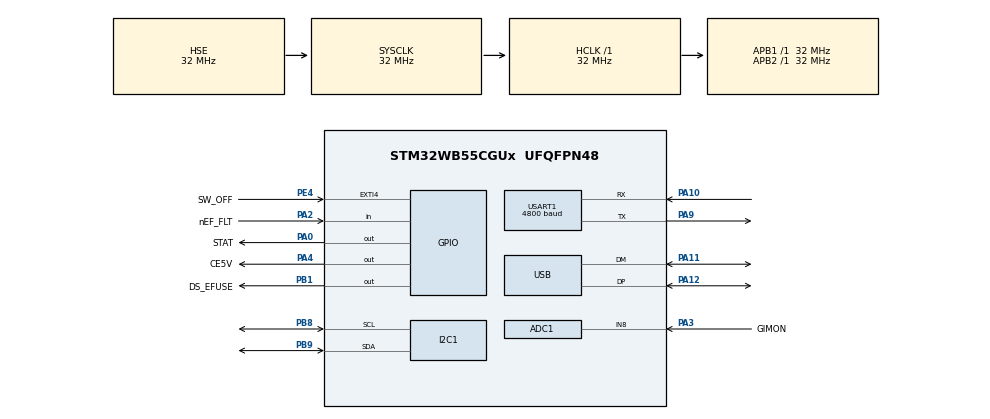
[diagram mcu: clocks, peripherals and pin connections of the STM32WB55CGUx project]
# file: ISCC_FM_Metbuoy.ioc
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ADC1.Channel-0\#ChannelRegularConversion=ADC_CHANNEL_8
ADC1.NbrOfConversionFlag=1
ADC1.OffsetNumber-0\#ChannelRegularConversion=ADC_OFFSET_NONE
ADC1.Rank-0\#ChannelRegularConversion=1
ADC1.SamplingTime-0\#ChannelRegularConversion=ADC_SAMPLETIME_2CYCLES_5
ADC1.master=1
I2C1.Timing=0x00B07CB4
Mcu.Family=STM32WB
Mcu.Name=STM32WB55CGUx
Mcu.Package=UFQFPN48
NVIC.EXTI4_IRQn=true\:0\:0\:true\:false\:true\:true\:true\:true
NVIC.FPU_IRQn=true\:0\:0\:false\:false\:true\:true\:false\:true
NVIC.HSEM_IRQn=true\:0\:0\:false\:false\:true\:false\:true\:true
NVIC.IPCC_C1_RX_IRQn=true\:0\:0\:false\:false\:true\:true\:true\:true
NVIC.IPCC_C1_TX_IRQn=true\:0\:0\:false\:false\:true\:true\:true\:true
NVIC.PriorityGroup=NVIC_PRIORITYGROUP_4
NVIC.RCC_IRQn=true\:0\:0\:false\:false\:true\:true\:false\:true
NVIC.RTC_WKUP_IRQn=true\:0\:0\:false\:false\:true\:true\:true\:true
NVIC.TIM1_UP_TIM16_IRQn=true\:0\:0\:false\:false\:true\:true\:true\:true
NVIC.TIM2_IRQn=true\:0\:0\:false\:false\:true\:true\:true\:true
NVIC.USART1_IRQn=true\:0\:0\:false\:false\:true\:true\:true\:true
NVIC.USB_LP_IRQn=true\:0\:0\:false\:false\:true\:false\:true\:true
OSC_IN.Mode=HSE-External-Oscillator
OSC_IN.Signal=RCC_OSC_IN
OSC_OUT.Mode=HSE-External-Oscillator
OSC_OUT.Signal=RCC_OSC_OUT
PA0.GPIO_Label=STAT
PA0.Signal=GPIO_Output
PA10.Mode=Asynchronous
PA10.Signal=USART1_RX
PA11.Mode=Device
PA11.Signal=USB_DM
PA12.Mode=Device
PA12.Signal=USB_DP
PA13.Mode=Serial_Wire
PA13.Signal=SYS_JTMS-SWDIO
PA14.Mode=Serial_Wire
PA14.Signal=SYS_JTCK-SWCLK
PA2.GPIO_Label=nEF_FLT
PA2.GPIO_PuPd=GPIO_PULLUP
PA2.Signal=GPIO_Input
PA3.GPIO_Label=GIMON
PA3.Signal=ADCx_IN8
PA4.GPIO_Label=CE5V
PA4.Signal=GPIO_Output
PA9.Mode=Asynchronous
PA9.Signal=USART1_TX
PB1.GPIO_Label=DS_EFUSE
PB1.GPIO_ModeDefaultOutputPP=GPIO_MODE_OUTPUT_PP
PB1.GPIO_PuPd=GPIO_NOPULL
PB1.PinState=GPIO_PIN_SET
PB1.Signal=GPIO_Output
PB8.Mode=I2C
PB8.Signal=I2C1_SCL
PB9.Mode=I2C
PB9.Signal=I2C1_SDA
PC14-OSC32_IN.Mode=LSE-External-Oscillator
PC14-OSC32_IN.Signal=RCC_OSC32_IN
PC15-OSC32_OUT.Mode=LSE-External-Oscillator
PC15-OSC32_OUT.Signal=RCC_OSC32_OUT
PE4.GPIO_Label=SW_OFF
PE4.GPIO_ModeDefaultEXTI=GPIO_MODE_IT_FALLING
PE4.Signal=GPXTI4
ProjectManager.HeapSize=0x200
ProjectManager.StackSize=0x400
ProjectManager.TargetToolchain=STM32CubeIDE
RCC.ADCFreq_Value=12000000
RCC.AHBFreq_Value=32000000
RCC.APB1Freq_Value=32000000
RCC.APB1TimFreq_Value=32000000
RCC.APB2Freq_Value=32000000
RCC.APB2TimFreq_Value=32000000
RCC.APB3Freq_Value=16000000
RCC.CK48CLockSelection=RCC_USBCLKSOURCE_HSI48
RCC.CortexFreq_Value=32000000
RCC.HCLKFreq_Value=32000000
RCC.HSE_VALUE=32000000
RCC.HSI48_VALUE=48000000
RCC.HSI_VALUE=16000000
RCC.LSISource1=RCC_LSCOSOURCE_LSI2
RCC.PLLM=RCC_PLLM_DIV2
RCC.PLLSAI1N=6
RCC.PLLSAI1R=RCC_PLLR_DIV8
RCC.PLLSourceVirtual=RCC_PLLSOURCE_HSE
RCC.RTCClockSelection=RCC_RTCCLKSOURCE_LSE
RCC.SMPSCLockSelection=RCC_SMPSCLKSOURCE_HSE
RCC.SYSCLKFreq_VALUE=32000000
RCC.SYSCLKSource=RCC_SYSCLKSOURCE_HSE
RCC.USBFreq_Value=48000000
RCC.VCOOutputFreq_Value=128000000
RF1.Mode=RF1_Activate
RF1.Signal=RF_RF1
SH.ADCx_IN8.0=ADC1_IN8,IN8-Single-Ended
STM32_WPAN.AD_TYPE_COMPLETE_LOCAL_NAME=IS_FM2
STM32_WPAN.AD_TYPE_COMPLETE_LOCAL_NAME_LENGTH=7
STM32_WPAN.AD_TYPE_SHORTENED_LOCAL_NAME=01ST
STM32_WPAN.CFG_LSCLK_LSE=0
STM32_WPAN.CUSTOM_P2P_SERVER=Disabled
STM32_WPAN.CUSTOM_TEMPLATE=Enabled
STM32_WPAN.INCLUDE_AD_TYPE_COMPLETE_LOCAL_NAME=1
STM32_WPAN.INCLUDE_AD_TYPE_MANUFACTURER_SPECIFIC_DATA=0
STM32_WPAN.INCLUDE_AD_TYPE_SHORTENED_LOCAL_NAME=1
STM32_WPAN.INCLUDE_AD_TYPE_TX_POWER_LEVEL=0
STM32_WPAN.NUMBER_OF_SERVICES=1
STM32_WPAN.SERVICE1_CHAR1_GATT_NOTIFY_READ_REQ_AND_WAIT_FOR_APPL_RESP=\ 
STM32_WPAN.SERVICE1_CHAR1_GATT_NOTIFY_WRITE_REQ_AND_WAIT_FOR_APPL_RESP=\ 
STM32_WPAN.SERVICE1_CHAR1_LENGTH_CHARACTERISTIC=CHAR_VALUE_LEN_VARIABLE
STM32_WPAN.SERVICE1_CHAR1_LONG_NAME=Transmit
STM32_WPAN.SERVICE1_CHAR1_PROP_WRITE_WITHOUT_RESP=CHAR_PROP_WRITE_WITHOUT_RESP
STM32_WPAN.SERVICE1_CHAR1_SHORT_NAME=TX
STM32_WPAN.SERVICE1_CHAR1_UUID=00 01
STM32_WPAN.SERVICE1_CHAR1_VALUE_LENGTH=128
STM32_WPAN.SERVICE1_CHAR2_GATT_NOTIFY_READ_REQ_AND_WAIT_FOR_APPL_RESP=\ 
STM32_WPAN.SERVICE1_CHAR2_GATT_NOTIFY_WRITE_REQ_AND_WAIT_FOR_APPL_RESP=\ 
STM32_WPAN.SERVICE1_CHAR2_LENGTH_CHARACTERISTIC=CHAR_VALUE_LEN_VARIABLE
STM32_WPAN.SERVICE1_CHAR2_LONG_NAME=Receive
STM32_WPAN.SERVICE1_CHAR2_PROP_NOTIFY=CHAR_PROP_NOTIFY
STM32_WPAN.SERVICE1_CHAR2_PROP_READ=CHAR_PROP_READ
STM32_WPAN.SERVICE1_CHAR2_SHORT_NAME=RX
STM32_WPAN.SERVICE1_CHAR2_UUID=00 02
STM32_WPAN.SERVICE1_CHAR2_VALUE_LENGTH=128
STM32_WPAN.SERVICE1_LONG_NAME=icmService
STM32_WPAN.SERVICE1_NUMBER_OF_CHARACTERISTICS=2
STM32_WPAN.SERVICE1_SHORT_NAME=icmService
STM32_WPAN.SERVICE1_UUID=00 00
TIM1.Period=50-1
TIM1.Prescaler=32000-1
TIM2.Period=100-1
TIM2.Prescaler=32000-1
USART1.BaudRate=4800
USART1.VirtualMode-Asynchronous=VM_ASYNC
USB_DEVICE.CLASS_NAME_FS=CDC
USB_DEVICE.VirtualMode=Cdc
USB_DEVICE.VirtualModeFS=Cdc_FS
VP_HSEM_VS_HSEM.Mode=HSEM_Activate
VP_IPCC_VS_IPCC.Mode=IPCC_Activate
VP_MEMORYMAP_VS_MEMORYMAP.Mode=CurAppReg
VP_RTC_VS_RTC_Activate.Mode=RTC_Enabled
VP_RTC_VS_RTC_Calendar.Mode=RTC_Calendar
VP_RTC_VS_RTC_WakeUp_intern.Mode=WakeUp
VP_SEQUENCER_VS_SEQUENCER.Mode=SEQUENCER_Enabled
VP_STM32_WPAN_VS_BLE_HOST.Mode=STM32_WPAN_Enabled
VP_TIM1_VS_ClockSourceINT.Mode=Internal
VP_TIM2_VS_ClockSourceINT.Mode=Internal
VP_TINY_LPM_VS_TINY_LPM.Mode=TINY_LPM_Enabled
VP_USB_DEVICE_VS_USB_DEVICE_CDC_FS.Mode=CDC_FS
board=custom

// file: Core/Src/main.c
/* USER CODE BEGIN Header */
/**
  ******************************************************************************
  * @file           : main.c
  * @brief          : Main program body
  ******************************************************************************
  * @attention
  *
  * Copyright (c) 2024 STMicroelectronics.
  * All rights reserved.
  *
  * This software is licensed under terms that can be found in the LICENSE file
  * in the root directory of this software component.
  * If no LICENSE file comes with this software, it is provided AS-IS.
  *
  ******************************************************************************
  */

// Author: 	Ian C Mosquera
// Date: 		06 Feb, 2025
// Company: DOST-ASTI

/* USER CODE END Header */
#include "main.h"
#include "usb_device.h"

/* USER CODE BEGIN Includes */

// Initital Push
#include "interruptTimer.h"
#include "math.h"
#include "strings.h"
#include "stdio.h"
#include "stm32_seq.h"
#include "stm_queue.h"
#include "stdint.h"
#include "stdbool.h"
#include "usbd_cdc_if.h"
#include "LTC4162.h"
#include "ASTI_RTC.h"

/* USER CODE END Includes */

ADC_HandleTypeDef hadc1;

I2C_HandleTypeDef hi2c1;

IPCC_HandleTypeDef hipcc;

RTC_HandleTypeDef hrtc;

TIM_HandleTypeDef htim1;
TIM_HandleTypeDef htim2;

UART_HandleTypeDef huart1;

/* USER CODE BEGIN PV */
LTC4162 ltc;
dateTime_t DT;

uint8_t MidnightEfuseReset_Flag;

uint8_t	STS40_RXBuffer[3];    // RX buffer for I2C
uint8_t	sts40_TXCODE; 				// measure T with highest precision
volatile float Temp_C;

/* END - UART variables */

/* USER CODE END PV */

void SystemClock_Config(void);
void PeriphCommonClock_Config(void);
static void MX_GPIO_Init(void);
static void MX_RTC_Init(void);
static void MX_IPCC_Init(void);
static void MX_TIM2_Init(void);
static void MX_USART1_UART_Init(void);
static void MX_TIM1_Init(void);
static void MX_I2C1_Init(void);
static void MX_ADC1_Init(void);
static void MX_RF_Init(void);
/* USER CODE BEGIN PFP */
static void ISCC_GPIO_Init(void);
/* USER CODE END PFP */

int main(void)
{

  /* MCU Configuration--------------------------------------------------------*/

  /* Reset of all peripherals, Initializes the Flash interface and the Systick. */
  HAL_Init();
  /* Config code for STM32_WPAN (HSE Tuning must be done before system clock configuration) */
  MX_APPE_Config();

  /* Configure the system clock */
  SystemClock_Config();

  /* Configure the peripherals common clocks */
  PeriphCommonClock_Config();

  /* IPCC initialisation */
  MX_IPCC_Init();

  /* Initialize all configured peripherals */
  MX_GPIO_Init();
  MX_RTC_Init();
  MX_USB_Device_Init();
  MX_TIM2_Init();
  MX_USART1_UART_Init();
  MX_TIM1_Init();
  MX_I2C1_Init();
  MX_ADC1_Init();
  MX_RF_Init();
  /* USER CODE BEGIN 2 */
  sts40_TXCODE =  0xFD;

  HAL_Delay(3000);
  xprintf(PC, "ASTI iSCC FW: 1.0.1\r\n");

  xprintf(PC, "Initiate RTC\r\n");
  xprintf(PC, "Initiate LTC Device\r\n");

  RTC_Init();
  LTC_Init(&ltc);
  ISCC_GPIO_Init();

  /* USER CODE END 2 */

  /* Init code for STM32_WPAN */
  MX_APPE_Init();

  /* Infinite loop */
  /* USER CODE BEGIN WHILE */

//	HAL_TIM_Base_Start_IT(&htim2);

  while (1)
  {
    /* USER CODE END WHILE */
    MX_APPE_Process();

  }
}

void SystemClock_Config(void)
{
  RCC_OscInitTypeDef RCC_OscInitStruct = {0};
  RCC_ClkInitTypeDef RCC_ClkInitStruct = {0};

  /** Macro to configure the PLL multiplication factor
  */
  __HAL_RCC_PLL_PLLM_CONFIG(RCC_PLLM_DIV2);

  /** Macro to configure the PLL clock source
  */
  __HAL_RCC_PLL_PLLSOURCE_CONFIG(RCC_PLLSOURCE_HSE);

  /** Configure LSE Drive Capability
  */
  HAL_PWR_EnableBkUpAccess();
  __HAL_RCC_LSEDRIVE_CONFIG(RCC_LSEDRIVE_MEDIUMHIGH);

  /** Configure the main internal regulator output voltage
  */
  __HAL_PWR_VOLTAGESCALING_CONFIG(PWR_REGULATOR_VOLTAGE_SCALE1);

  /** Initializes the RCC Oscillators according to the specified parameters
  * in the RCC_OscInitTypeDef structure.
  */
  RCC_OscInitStruct.OscillatorType = RCC_OSCILLATORTYPE_HSI48|RCC_OSCILLATORTYPE_HSI
                              |RCC_OSCILLATORTYPE_HSE|RCC_OSCILLATORTYPE_LSE;
  RCC_OscInitStruct.HSEState = RCC_HSE_ON;
  RCC_OscInitStruct.LSEState = RCC_LSE_ON;
  RCC_OscInitStruct.HSIState = RCC_HSI_ON;
  RCC_OscInitStruct.HSI48State = RCC_HSI48_ON;
  RCC_OscInitStruct.HSICalibrationValue = RCC_HSICALIBRATION_DEFAULT;
  RCC_OscInitStruct.PLL.PLLState = RCC_PLL_NONE;
  if (HAL_RCC_OscConfig(&RCC_OscInitStruct) != HAL_OK)
  {
    Error_Handler();
  }

  /** Configure the SYSCLKSource, HCLK, PCLK1 and PCLK2 clocks dividers
  */
  RCC_ClkInitStruct.ClockType = RCC_CLOCKTYPE_HCLK4|RCC_CLOCKTYPE_HCLK2
                              |RCC_CLOCKTYPE_HCLK|RCC_CLOCKTYPE_SYSCLK
                              |RCC_CLOCKTYPE_PCLK1|RCC_CLOCKTYPE_PCLK2;
  RCC_ClkInitStruct.SYSCLKSource = RCC_SYSCLKSOURCE_HSE;
  RCC_ClkInitStruct.AHBCLKDivider = RCC_SYSCLK_DIV1;
  RCC_ClkInitStruct.APB1CLKDivider = RCC_HCLK_DIV1;
  RCC_ClkInitStruct.APB2CLKDivider = RCC_HCLK_DIV1;
  RCC_ClkInitStruct.AHBCLK2Divider = RCC_SYSCLK_DIV1;
  RCC_ClkInitStruct.AHBCLK4Divider = RCC_SYSCLK_DIV1;

  if (HAL_RCC_ClockConfig(&RCC_ClkInitStruct, FLASH_LATENCY_1) != HAL_OK)
  {
    Error_Handler();
  }
}

void PeriphCommonClock_Config(void)
{
  RCC_PeriphCLKInitTypeDef PeriphClkInitStruct = {0};

  /** Initializes the peripherals clock
  */
  PeriphClkInitStruct.PeriphClockSelection = RCC_PERIPHCLK_SMPS|RCC_PERIPHCLK_RFWAKEUP;
  PeriphClkInitStruct.RFWakeUpClockSelection = RCC_RFWKPCLKSOURCE_HSE_DIV1024;
  PeriphClkInitStruct.SmpsClockSelection = RCC_SMPSCLKSOURCE_HSE;
  PeriphClkInitStruct.SmpsDivSelection = RCC_SMPSCLKDIV_RANGE0;

  if (HAL_RCCEx_PeriphCLKConfig(&PeriphClkInitStruct) != HAL_OK)
  {
    Error_Handler();
  }
  /* USER CODE BEGIN Smps */
  LL_HSEM_1StepLock( HSEM, 5);
  /* USER CODE END Smps */
}

static void MX_ADC1_Init(void)
{

  ADC_ChannelConfTypeDef sConfig = {0};

  /** Common config
  */
  hadc1.Instance = ADC1;
  hadc1.Init.ClockPrescaler = ADC_CLOCK_ASYNC_DIV1;
  hadc1.Init.Resolution = ADC_RESOLUTION_12B;
  hadc1.Init.DataAlign = ADC_DATAALIGN_RIGHT;
  hadc1.Init.ScanConvMode = ADC_SCAN_DISABLE;
  hadc1.Init.EOCSelection = ADC_EOC_SINGLE_CONV;
  hadc1.Init.LowPowerAutoWait = DISABLE;
  hadc1.Init.ContinuousConvMode = DISABLE;
  hadc1.Init.NbrOfConversion = 1;
  hadc1.Init.DiscontinuousConvMode = DISABLE;
  hadc1.Init.ExternalTrigConv = ADC_SOFTWARE_START;
  hadc1.Init.ExternalTrigConvEdge = ADC_EXTERNALTRIGCONVEDGE_NONE;
  hadc1.Init.DMAContinuousRequests = DISABLE;
  hadc1.Init.Overrun = ADC_OVR_DATA_PRESERVED;
  hadc1.Init.OversamplingMode = DISABLE;
  if (HAL_ADC_Init(&hadc1) != HAL_OK)
  {
    Error_Handler();
  }

  /** Configure Regular Channel
  */
  sConfig.Channel = ADC_CHANNEL_8;
  sConfig.Rank = ADC_REGULAR_RANK_1;
  sConfig.SamplingTime = ADC_SAMPLETIME_2CYCLES_5;
  sConfig.SingleDiff = ADC_SINGLE_ENDED;
  sConfig.OffsetNumber = ADC_OFFSET_NONE;
  sConfig.Offset = 0;
  if (HAL_ADC_ConfigChannel(&hadc1, &sConfig) != HAL_OK)
  {
    Error_Handler();
  }

}

static void MX_I2C1_Init(void)
{

  hi2c1.Instance = I2C1;
  hi2c1.Init.Timing = 0x00B07CB4;
  hi2c1.Init.OwnAddress1 = 0;
  hi2c1.Init.AddressingMode = I2C_ADDRESSINGMODE_7BIT;
  hi2c1.Init.DualAddressMode = I2C_DUALADDRESS_DISABLE;
  hi2c1.Init.OwnAddress2 = 0;
  hi2c1.Init.OwnAddress2Masks = I2C_OA2_NOMASK;
  hi2c1.Init.GeneralCallMode = I2C_GENERALCALL_DISABLE;
  hi2c1.Init.NoStretchMode = I2C_NOSTRETCH_DISABLE;
  if (HAL_I2C_Init(&hi2c1) != HAL_OK)
  {
    Error_Handler();
  }

  /** Configure Analogue filter
  */
  if (HAL_I2CEx_ConfigAnalogFilter(&hi2c1, I2C_ANALOGFILTER_ENABLE) != HAL_OK)
  {
    Error_Handler();
  }

  /** Configure Digital filter
  */
  if (HAL_I2CEx_ConfigDigitalFilter(&hi2c1, 0) != HAL_OK)
  {
    Error_Handler();
  }

}

static void MX_IPCC_Init(void)
{

  hipcc.Instance = IPCC;
  if (HAL_IPCC_Init(&hipcc) != HAL_OK)
  {
    Error_Handler();
  }

}

static void MX_RF_Init(void)
{

}

static void MX_RTC_Init(void)
{

  RTC_TimeTypeDef sTime = {0};
  RTC_DateTypeDef sDate = {0};

  /** Initialize RTC Only
  */
  hrtc.Instance = RTC;
  hrtc.Init.HourFormat = RTC_HOURFORMAT_24;
  hrtc.Init.AsynchPrediv = CFG_RTC_ASYNCH_PRESCALER;
  hrtc.Init.SynchPrediv = CFG_RTC_SYNCH_PRESCALER;
  hrtc.Init.OutPut = RTC_OUTPUT_DISABLE;
  hrtc.Init.OutPutPolarity = RTC_OUTPUT_POLARITY_HIGH;
  hrtc.Init.OutPutType = RTC_OUTPUT_TYPE_OPENDRAIN;
  hrtc.Init.OutPutRemap = RTC_OUTPUT_REMAP_NONE;
  if (HAL_RTC_Init(&hrtc) != HAL_OK)
  {
    Error_Handler();
  }

  /** Initialize RTC and set the Time and Date
  */
  sTime.Hours = 0x0;
  sTime.Minutes = 0x0;
  sTime.Seconds = 0x0;
  sTime.SubSeconds = 0x0;
  sTime.DayLightSaving = RTC_DAYLIGHTSAVING_NONE;
  sTime.StoreOperation = RTC_STOREOPERATION_RESET;
  if (HAL_RTC_SetTime(&hrtc, &sTime, RTC_FORMAT_BCD) != HAL_OK)
  {
    Error_Handler();
  }
  sDate.WeekDay = RTC_WEEKDAY_MONDAY;
  sDate.Month = RTC_MONTH_JANUARY;
  sDate.Date = 0x1;
  sDate.Year = 0x0;

  if (HAL_RTC_SetDate(&hrtc, &sDate, RTC_FORMAT_BCD) != HAL_OK)
  {
    Error_Handler();
  }

  /** Enable the WakeUp
  */
  if (HAL_RTCEx_SetWakeUpTimer_IT(&hrtc, 0, RTC_WAKEUPCLOCK_RTCCLK_DIV16) != HAL_OK)
  {
    Error_Handler();
  }

}

static void MX_TIM1_Init(void)
{

  TIM_ClockConfigTypeDef sClockSourceConfig = {0};
  TIM_MasterConfigTypeDef sMasterConfig = {0};

  htim1.Instance = TIM1;
  htim1.Init.Prescaler = 32000-1;
  htim1.Init.CounterMode = TIM_COUNTERMODE_UP;
  htim1.Init.Period = 50-1;
  htim1.Init.ClockDivision = TIM_CLOCKDIVISION_DIV1;
  htim1.Init.RepetitionCounter = 0;
  htim1.Init.AutoReloadPreload = TIM_AUTORELOAD_PRELOAD_DISABLE;
  if (HAL_TIM_Base_Init(&htim1) != HAL_OK)
  {
    Error_Handler();
  }
  sClockSourceConfig.ClockSource = TIM_CLOCKSOURCE_INTERNAL;
  if (HAL_TIM_ConfigClockSource(&htim1, &sClockSourceConfig) != HAL_OK)
  {
    Error_Handler();
  }
  sMasterConfig.MasterOutputTrigger = TIM_TRGO_RESET;
  sMasterConfig.MasterOutputTrigger2 = TIM_TRGO2_RESET;
  sMasterConfig.MasterSlaveMode = TIM_MASTERSLAVEMODE_DISABLE;
  if (HAL_TIMEx_MasterConfigSynchronization(&htim1, &sMasterConfig) != HAL_OK)
  {
    Error_Handler();
  }

}

static void MX_TIM2_Init(void)
{

  TIM_ClockConfigTypeDef sClockSourceConfig = {0};
  TIM_MasterConfigTypeDef sMasterConfig = {0};

  htim2.Instance = TIM2;
  htim2.Init.Prescaler = 32000-1;
  htim2.Init.CounterMode = TIM_COUNTERMODE_UP;
  htim2.Init.Period = 100-1;
  htim2.Init.ClockDivision = TIM_CLOCKDIVISION_DIV1;
  htim2.Init.AutoReloadPreload = TIM_AUTORELOAD_PRELOAD_DISABLE;
  if (HAL_TIM_Base_Init(&htim2) != HAL_OK)
  {
    Error_Handler();
  }
  sClockSourceConfig.ClockSource = TIM_CLOCKSOURCE_INTERNAL;
  if (HAL_TIM_ConfigClockSource(&htim2, &sClockSourceConfig) != HAL_OK)
  {
    Error_Handler();
  }
  sMasterConfig.MasterOutputTrigger = TIM_TRGO_RESET;
  sMasterConfig.MasterSlaveMode = TIM_MASTERSLAVEMODE_DISABLE;
  if (HAL_TIMEx_MasterConfigSynchronization(&htim2, &sMasterConfig) != HAL_OK)
  {
    Error_Handler();
  }

}

static void MX_USART1_UART_Init(void)
{

  huart1.Instance = USART1;
  huart1.Init.BaudRate = 4800;
  huart1.Init.WordLength = UART_WORDLENGTH_8B;
  huart1.Init.StopBits = UART_STOPBITS_1;
  huart1.Init.Parity = UART_PARITY_NONE;
  huart1.Init.Mode = UART_MODE_TX_RX;
  huart1.Init.HwFlowCtl = UART_HWCONTROL_NONE;
  huart1.Init.OverSampling = UART_OVERSAMPLING_16;
  huart1.Init.OneBitSampling = UART_ONE_BIT_SAMPLE_DISABLE;
  huart1.Init.ClockPrescaler = UART_PRESCALER_DIV1;
  huart1.AdvancedInit.AdvFeatureInit = UART_ADVFEATURE_NO_INIT;
  if (HAL_UART_Init(&huart1) != HAL_OK)
  {
    Error_Handler();
  }
  if (HAL_UARTEx_SetTxFifoThreshold(&huart1, UART_TXFIFO_THRESHOLD_1_8) != HAL_OK)
  {
    Error_Handler();
  }
  if (HAL_UARTEx_SetRxFifoThreshold(&huart1, UART_RXFIFO_THRESHOLD_1_8) != HAL_OK)
  {
    Error_Handler();
  }
  if (HAL_UARTEx_DisableFifoMode(&huart1) != HAL_OK)
  {
    Error_Handler();
  }

}

static void MX_GPIO_Init(void)
{
  GPIO_InitTypeDef GPIO_InitStruct = {0};

  /* GPIO Ports Clock Enable */
  __HAL_RCC_GPIOC_CLK_ENABLE();
  __HAL_RCC_GPIOB_CLK_ENABLE();
  __HAL_RCC_GPIOA_CLK_ENABLE();
  __HAL_RCC_GPIOE_CLK_ENABLE();

  /*Configure GPIO pin Output Level */
  HAL_GPIO_WritePin(GPIOA, STAT_Pin|CE5V_Pin, GPIO_PIN_RESET);

  /*Configure GPIO pin Output Level */
  HAL_GPIO_WritePin(DS_EFUSE_GPIO_Port, DS_EFUSE_Pin, GPIO_PIN_SET);

  /*Configure GPIO pins : STAT_Pin CE5V_Pin */
  GPIO_InitStruct.Pin = STAT_Pin|CE5V_Pin;
  GPIO_InitStruct.Mode = GPIO_MODE_OUTPUT_PP;
  GPIO_InitStruct.Pull = GPIO_NOPULL;
  GPIO_InitStruct.Speed = GPIO_SPEED_FREQ_LOW;
  HAL_GPIO_Init(GPIOA, &GPIO_InitStruct);

  /*Configure GPIO pin : nEF_FLT_Pin */
  GPIO_InitStruct.Pin = nEF_FLT_Pin;
  GPIO_InitStruct.Mode = GPIO_MODE_INPUT;
  GPIO_InitStruct.Pull = GPIO_PULLUP;
  HAL_GPIO_Init(nEF_FLT_GPIO_Port, &GPIO_InitStruct);

  /*Configure GPIO pin : DS_EFUSE_Pin */
  GPIO_InitStruct.Pin = DS_EFUSE_Pin;
  GPIO_InitStruct.Mode = GPIO_MODE_OUTPUT_PP;
  GPIO_InitStruct.Pull = GPIO_NOPULL;
  GPIO_InitStruct.Speed = GPIO_SPEED_FREQ_LOW;
  HAL_GPIO_Init(DS_EFUSE_GPIO_Port, &GPIO_InitStruct);

  /*Configure GPIO pin : SW_OFF_Pin */
  GPIO_InitStruct.Pin = SW_OFF_Pin;
  GPIO_InitStruct.Mode = GPIO_MODE_IT_FALLING;
  GPIO_InitStruct.Pull = GPIO_NOPULL;
  HAL_GPIO_Init(SW_OFF_GPIO_Port, &GPIO_InitStruct);

  /* EXTI interrupt init*/
  HAL_NVIC_SetPriority(EXTI4_IRQn, 0, 0);
  HAL_NVIC_EnableIRQ(EXTI4_IRQn);

}

/* USER CODE BEGIN 4 */

//static void Accumulate_Current_Consumption(void)
//{
//	ACU_Current_Consumption = ACU_Current_Consumption + AVE(buf_avg);
//}
//
//
//static void Read_Current_Consumption(void)
//{
//	AVE_Current_Consumption = ((ACU_Current_Consumption / Timer16_Max_Counter) * (3.3f/4096.0f)) / 4.3f * 1.2;
//	ACU_Current_Consumption = 0;
//}
//
//static float NTCtoTempC(uint32_t value, uint32_t beta, uint32_t thm){
//	float rntc, tc;
//	rntc = thm * (value / (21829.2f - value));
//
//	tc = (beta / (log(rntc/10000) + (beta/298.15f))) - 273.15;
//
//	return tc;
//}
//
//static void Increment_ADC_Timer_Counter(void)
//{
//	if (adc_tmr_ctr < (Timer16_Max_Counter - 1))
//		adc_tmr_ctr = adc_tmr_ctr + 1;
//	else
//		adc_tmr_ctr = 0;
//}

void EnableLoad(void)
{
	// Low = On Load
	// High =  Off Load
	HAL_GPIO_WritePin(DS_EFUSE_GPIO_Port, DS_EFUSE_Pin, GPIO_PIN_RESET);
	xprintf(PC, "Load Enabled\r\n");
}

void DisableLoad(void)
{
	// Low = On Load
	// High =  Off Load
	HAL_GPIO_WritePin(DS_EFUSE_GPIO_Port, DS_EFUSE_Pin, GPIO_PIN_SET);
	xprintf(PC, "Load disabled\r\n");
}

static void ISCC_GPIO_Init(void)
{
	EnableLoad();
}

//void HAL_UART_RxCpltCallback(UART_HandleTypeDef *huart)
//{
//	HAL_UART_Transmit(&huart1, (uint8_t*)chargingData, strlen(chargingData), HAL_MAX_DELAY);
//
//	volatile uint8_t temp = USART1->RDR; //or RDR depending on what register you have
//	(void)temp;
//
//  HAL_UART_Receive_IT(&huart1, UART1_rxBuffer, 2);
//}

//void HAL_TIM_PeriodElapsedCallback(TIM_HandleTypeDef *htim)
//{
//	if (htim == &htim16)
//	{
//		Increment_ADC_Timer_Counter();
//	}
//}

//void uart1_handler(void){
//  char buff;
//  HAL_UART_Receive (&huart1, (uint8_t *)&buff, 1, 400);
//  my_uart_buffer[my_uart_buffer_index++] = buff;
//}
//
//void uart1_idleHandler(void){
//  my_uart_buffer_index = 0;
//}

//void HAL_ADC_ConvHalfCpltCallback(ADC_HandleTypeDef* hadc){
//	uint16_t i;
//
//	adc_buff_average[0] = 0;
//
//	for(i = 0; i < 32; i++){
//		adc_buff_average[0] = adc_buff_average[0] + (adc_buff[i] / 32);
//	}
//}

//void HAL_ADC_ConvCpltCallback(ADC_HandleTypeDef* hadc){
//	uint16_t i;
//
//	adc_buff_average[1] = 0;
//
//	for(i = 0; i < 32; i++){
//		adc_buff_average[1] = adc_buff_average[1] + (adc_buff[i] / 32);
//	}
//}

//static void ADC_Init(void)
//{
//	uint8_t i;
//	adc_buff_average[0] = 0;
//	adc_buff_average[1] = 0;
//
//	for(i = 0; i < 32; i++)
//	{
//		adc_buff_average[i] = 0x0000 + 1;
//	}
//}

void CountTimeSeconds(void)
{
	if (++DT.Sec > 59)
	{
		DT.Sec = 0;
		//arQ.Flg.TEST_FLAG = true;

		if (++DT.Min > 59)
		{
			DT.Min = 0;
			if (++DT.Hour > 23)
			{
				DT.Hour = 0;
				++DT.Days;

				if((DT.Days == 29 && DT.Month == 2 && !IS_LEAP(DT.Year)) ||
					 (DT.Days == 30 && DT.Month == 2)                      ||
					 (DT.Days == 31 &&
							 (DT.Month == 4 ||
								DT.Month == 6 ||
								DT.Month == 9 ||
								DT.Month == 11))||
					 (DT.Days == 32))
				{
					DT.Month++;
					DT.Days = 1;
				}
				if (DT.Month == 13)
				{
					DT.Year++;
					DT.Month = 1;
				}
				MidnightEfuseReset_Flag = true;
			}
		}
	}

	// Sync Time Every Hour
	if ((DT.Hour_Old != DT.Hour) &&
			(DT.Min == 58))
	{
		//arQ.Flg.SYNC_FLAG = true;
		DT.Hour_Old = DT.Hour;
	}
}

void GetSTS40TempC(void){
	uint16_t rawTemp;
	HAL_StatusTypeDef status;

	status = HAL_I2C_IsDeviceReady(&hi2c1, STS40_I2C_ADDR, 3, HAL_MAX_DELAY);

	if(status == HAL_OK){
	  status = HAL_I2C_Master_Transmit(&hi2c1, STS40_I2C_ADDR, &sts40_TXCODE, 1, HAL_MAX_DELAY);
	  HAL_Delay(100);

	  if(status != HAL_OK) Error_Handler();
	  status = HAL_I2C_Master_Receive(&hi2c1, STS40_I2C_ADDR, (uint8_t*)STS40_RXBuffer, 2, HAL_MAX_DELAY);

	  if(status != HAL_OK) Error_Handler();
	}
	else Error_Handler();

	rawTemp = (STS40_RXBuffer[0] << 8) | STS40_RXBuffer[1];
	Temp_C = ((rawTemp/65535.0f) * 175.0f) - 45.0f;
}

/* USER CODE END 4 */

void Error_Handler(void)
{
  __disable_irq();
  while (1)
  {
  }
}
